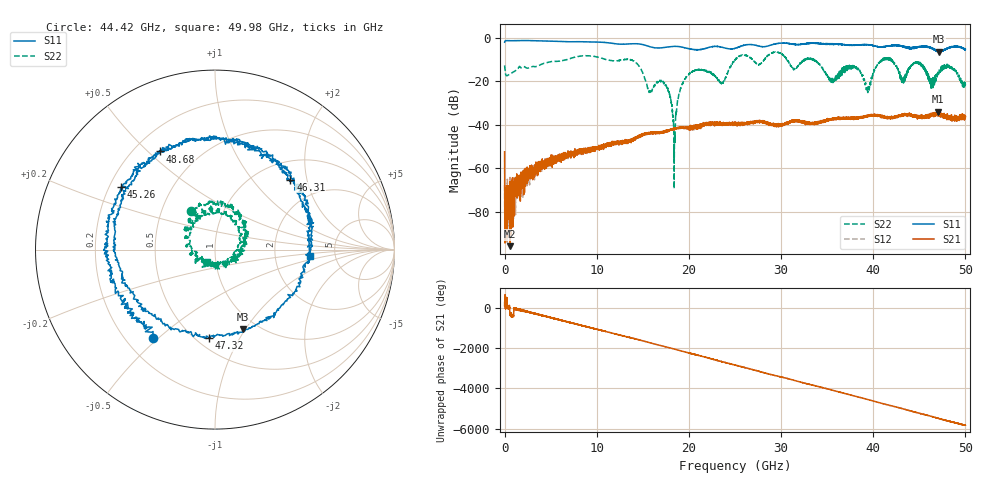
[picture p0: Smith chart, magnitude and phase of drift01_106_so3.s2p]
!Created with skrf (http://scikit-rf.org).
# Hz S RI R 50.0
!freq ReS11 ImS11 ReS21 ImS21 ReS12 ImS12 ReS22 ImS22
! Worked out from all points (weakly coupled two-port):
!   10001 points, 300 kHz to 50 GHz, reference 50 ohm
!   highest |S21| = -34.02 dB at 46.99 GHz (marker M1); lowest = -95.8 dB at 560.3 MHz (marker M2)
!   lowest |S11| = -6.5 dB at 47.17 GHz (marker M3), VSWR 2.78, Z = 42.9 - j49 ohm
!   |S11| at or under -10 dB: nowhere
!   |S22| runs from -69.4 to -6.6 dB; largest |S21 - S12| = 0.0036
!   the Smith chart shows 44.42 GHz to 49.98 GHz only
!   S11 on the Smith chart (normalised r, x): 44.42 GHz: 0.31, -0.48; 45.26 GHz: 0.25, +0.29; 46.31 GHz: 1.37, +1.60; 47.32 GHz: 0.58, -0.75; 48.68 GHz: 0.30, +0.55; 49.98 GHz: 3.22, -0.33
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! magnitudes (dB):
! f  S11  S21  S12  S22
! 300 kHz  -2.1  -52.5  -67.8  -12.8
! 560.3 MHz  -1.5  -95.8  -72.8  -16.8
! 8.335 GHz  -1.9  -51.6  -53.4  -8.5
! 16.67 GHz  -4.8  -43.4  -43.5  -20.0
! 17.74 GHz  -4.3  -42.8  -42.8  -24.2
! 18.44 GHz  -4.1  -42.4  -41.9  -47.2
! 19.93 GHz  -5.1  -41.4  -41.6  -17.2
! 23.62 GHz  -4.5  -39.7  -39.6  -20.8
! 25 GHz  -5.0  -39.9  -39.6  -10.4
! 33.34 GHz  -2.6  -39.6  -39.3  -9.8
! 39.46 GHz  -3.3  -36.0  -36.1  -23.3
! 41.67 GHz  -3.9  -37.0  -37.0  -10.0
! 43.19 GHz  -4.1  -35.7  -35.4  -19.1
! 44.42 GHz  -4.4  -35.8  -35.8  -11.8
! 45.26 GHz  -4.0  -36.5  -36.5  -12.5
! 46.31 GHz  -4.8  -35.6  -35.4  -22.7
! 46.99 GHz  -6.3  -34.0  -35.1  -16.3
! 47.17 GHz  -6.5  -35.4  -35.1  -15.0
! 47.32 GHz  -6.1  -35.7  -35.5  -14.7
! 48.68 GHz  -4.1  -37.1  -37.3  -14.1
! 49.98 GHz  -5.5  -36.2  -36.6  -21.7
! 50 GHz  -5.4  -36.1  -37.0  -21.7
